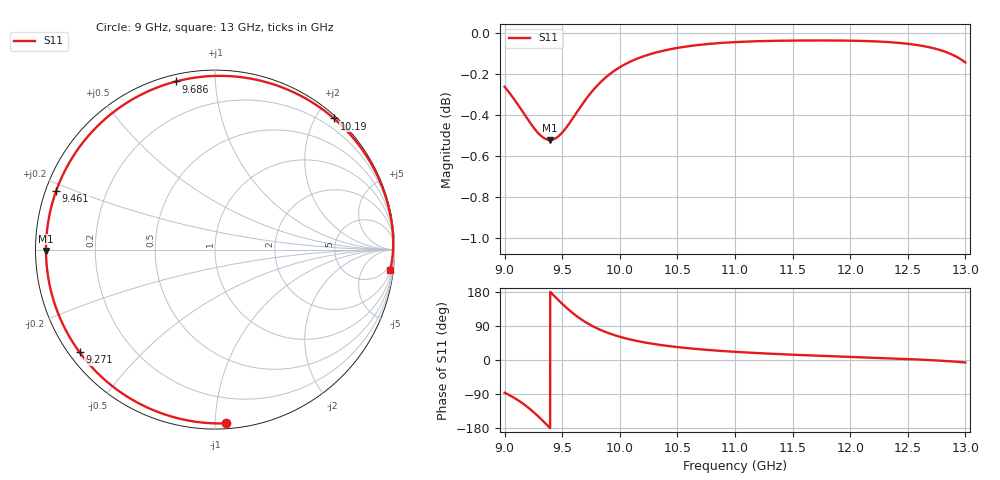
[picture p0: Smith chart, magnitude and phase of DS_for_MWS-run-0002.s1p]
! TOUCHSTONE file generated by CST DESIGN STUDIO
! Date and time: Tue Feb  4 17:12:44 2025
! Project name: C:\Work\MatlabApps\UnitCellOptimizationMatlab\CST\unitcell.cst
! Tree item: Tasks\Sweep1\SPara1\S-Parameters
! Header version: 2024
! Port assignment regex: !\s*Touchstone port\s*([0-9]+)\s*=\s*(CST MWS port|CST DES external port|CST DES block port)\s*(.+)\s* \(\"(.*)\"\)(\s*mode\s*([0-9]+))?.*
! Touchstone port assignment:
! Touchstone port 1 = CST DES external port 1 ("")
# GHz S MA R 50
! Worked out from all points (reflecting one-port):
!   4001 points, 9 GHz to 13 GHz, reference 50 ohm
!   lowest |S11| = -0.5 dB at 9.394 GHz (marker M1), VSWR 33.33, Z = 1.5 - j0.212 ohm
!   phase of S11 starts at -86 deg and turns -280 deg over the sweep
!   S11 on the Smith chart (normalised r, x): 9 GHz: 0.03, -1.06; 9.271 GHz: 0.03, -0.34; 9.461 GHz: 0.03, +0.18; 9.686 GHz: 0.03, +0.79; 10.19 GHz: 0.04, +2.26; 13 GHz: 2, -17
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9  0.9702 -86.4
9.081  0.9636 -99.5
9.149  0.9575 -112.8
9.211  0.9518 -127.1
9.271  0.9468 -142.8
9.336  0.943 -161.7
9.394  0.9417 -179.5
9.427  0.9421 170.3
9.461  0.9434 159.9
9.5  0.9456 148.3
9.545  0.9491 135.8
9.59  0.953 124.2
9.636  0.9573 113.4
9.686  0.9617 103.1
9.755  0.9673 90.8
9.837  0.9729 78.8
9.915  0.9772 69.5
10  0.9808 61.3
10.09  0.9839 54.2
10.19  0.9865 47.8
10.332  0.9892 40.6
10.5  0.9915 34.0
11  0.9947 21.6
11.5  0.9956 14.0
12  0.9955 8.2
12.5  0.9938 2.4
12.781  0.9903 -1.7
13  0.9834 -6.6
